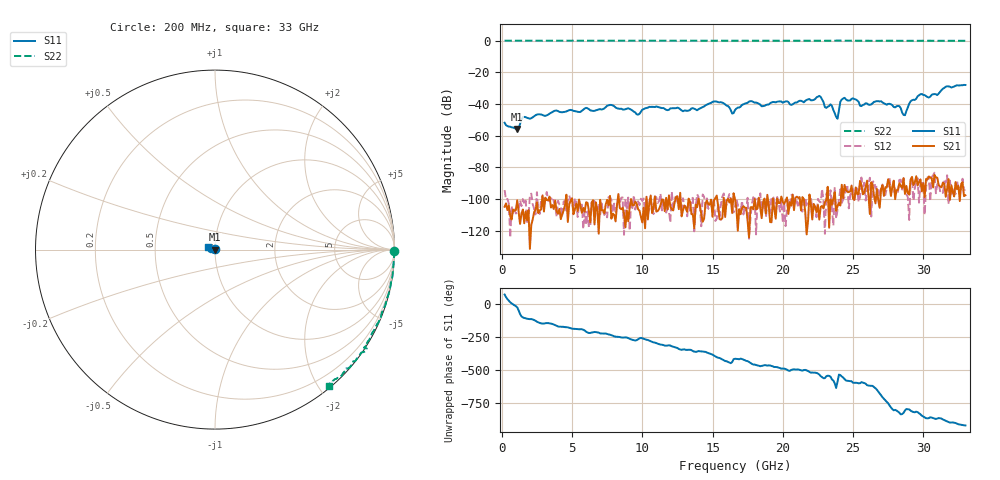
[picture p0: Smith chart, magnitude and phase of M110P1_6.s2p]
# GHZ S RI R 50
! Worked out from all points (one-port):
!   329 points, 200 MHz to 33 GHz, reference 50 ohm
!   lowest |S11| = -55.8 dB at 1.1 GHz (marker M1), VSWR 1.00, Z = 50.1 - j0.0751 ohm
!   |S11| at or under -10 dB: start of sweep to end of sweep
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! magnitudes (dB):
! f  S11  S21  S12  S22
! 200 MHz  -51.9  -105.0  -94.4  0.0
! 1.1 GHz  -55.8  -100.9  -108.8  0.0
! 1.6 GHz  -48.2  -115.4  -103.3  0.0
! 5.7 GHz  -44.3  -108.8  -103.6  0.0
! 7.8 GHz  -40.6  -112.5  -100.6  0.0
! 9.7 GHz  -46.8  -106.5  -101.5  0.0
! 11.2 GHz  -42.1  -106.3  -101.1  0.0
! 13.9 GHz  -44.0  -105.3  -97.1  0.0
! 15.2 GHz  -38.4  -99.4  -113.9  0.0
! 16.6 GHz  -43.8  -100.2  -105.0  0.0
! 17.7 GHz  -38.2  -105.4  -112.5  -0.1
! 22.1 GHz  -37.7  -113.0  -105.8  -0.1
! 22.6 GHz  -34.9  -113.1  -101.6  -0.1
! 23.9 GHz  -49.4  -104.6  -106.8  0.1
! 24.1 GHz  -38.6  -104.2  -93.9  0.0
! 24.4 GHz  -36.1  -91.2  -98.7  0.0
! 25.6 GHz  -41.3  -91.2  -86.5  0.0
! 27.6 GHz  -39.9  -90.6  -86.5  0.0
! 28.7 GHz  -47.1  -96.9  -95.5  -0.1
! 29.1 GHz  -38.3  -87.7  -88.8  -0.1
! 29.8 GHz  -33.9  -87.7  -90.0  -0.1
! 33 GHz  -28.0  -97.7  -94.3  -0.1
